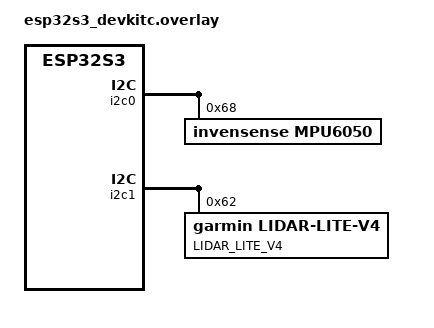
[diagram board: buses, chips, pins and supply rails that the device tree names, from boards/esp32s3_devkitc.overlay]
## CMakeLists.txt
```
cmake_minimum_required(VERSION 3.20.0)
find_package(Zephyr REQUIRED HINTS $ENV{ZEPHYR_BASE})
project(slam-module)

project(app LANGUAGES C)

file(GLOB SLAM_MODULE_SOURCES "src/*.c")

target_sources(app PRIVATE ${SLAM_MODULE_SOURCES})
target_include_directories(app PRIVATE ${CMAKE_CURRENT_SOURCE_DIR}/include)

# Link Fusion library (headers are automatically included)
target_link_libraries(app PRIVATE Fusion)

# Add Xtensa-specific compiler flags to Fusion library to handle call range issues
if(CMAKE_C_COMPILER_ID MATCHES "GNU" AND CMAKE_SYSTEM_PROCESSOR MATCHES "xtensa")
    target_compile_options(Fusion PRIVATE 
        -mtext-section-literals
        -mlongcalls
    )
endif()
```

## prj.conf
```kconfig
# Copyright (c) 2021 Nordic Semiconductor ASA
CONFIG_I2C=y
CONFIG_SENSOR=y
CONFIG_MPU6050_TRIGGER_NONE=y
CONFIG_CBPRINTF_FP_SUPPORT=y
```

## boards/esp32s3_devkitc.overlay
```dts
// SDA - GPIO8
// SCL - GPIO9

/ {
    aliases {
        lidar = &lidar;
        imu = &mpu6050;
    };
};

&pinctrl {
    i2c0_default: i2c0_default {
        group1 {
            pinmux = <I2C0_SDA_GPIO8>, <I2C0_SCL_GPIO9>;
            bias-pull-up;
            drive-open-drain;
            output-high;
        };
    };
    i2c1_default: i2c1_default {
        group1 {
            pinmux = <I2C1_SDA_GPIO6>, <I2C1_SCL_GPIO15>;
            bias-pull-up;
            drive-open-drain;
            output-high;
        };
    };
};

&i2c0 {
    status = "okay";
    mpu6050: mpu6050@68 {
        compatible = "invensense,mpu6050";
        reg = <0x68>;
        status = "okay";
    };
};

&i2c1 {
    status = "okay";
    lidar: lidar@62 {
        compatible = "garmin,lidar-lite-v4";
        reg = <0x62>;
        label = "LIDAR_LITE_V4";
        status = "okay";
    };
};
```

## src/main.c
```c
#include <zephyr/kernel.h>
#include <zephyr/device.h>
#include <stdlib.h>

#include "imu.h"
#include "lidar.h"
#include "slam.h"
#include "wifi_comm.h"
#include "hardware_intf.h"

#define STACK_SIZE      2048

#define IMU_PRIORITY     3
#define LIDAR_PRIORITY   3
#define SLAM_PRIORITY    2
#define WIFI_PRIORITY    1


K_THREAD_STACK_DEFINE(imu_stack, STACK_SIZE);
K_THREAD_STACK_DEFINE(lidar_stack, STACK_SIZE);
K_THREAD_STACK_DEFINE(slam_stack, STACK_SIZE);
K_THREAD_STACK_DEFINE(wifi_stack, STACK_SIZE);

static struct k_thread imu_thread_data;
static struct k_thread lidar_thread_data;
static struct k_thread slam_thread_data;
static struct k_thread wifi_thread_data;

typedef bool (*init_func_t)(void);

int main(void) {

    app_hardware_init();

    k_thread_create(&imu_thread_data, imu_stack, STACK_SIZE,
                    imu_thread, NULL, NULL, NULL,
                    IMU_PRIORITY, 0, K_NO_WAIT);

    k_thread_create(&lidar_thread_data, lidar_stack, STACK_SIZE,
                    lidar_thread, NULL, NULL, NULL,
                    LIDAR_PRIORITY, 0, K_NO_WAIT);

    k_thread_create(&slam_thread_data, slam_stack, STACK_SIZE,
                    slam_thread, NULL, NULL, NULL,
                    SLAM_PRIORITY, 0, K_NO_WAIT);

    k_thread_create(&wifi_thread_data, wifi_stack, STACK_SIZE,
                    wifi_thread, NULL, NULL, NULL,
                    WIFI_PRIORITY, 0, K_NO_WAIT);

    return EXIT_SUCCESS;
}
```

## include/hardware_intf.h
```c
#ifndef HARDWARE_INTF_H
#define HARDWARE_INTF_H

const struct device * const get_imu_device(void);
const struct device * const get_lidar_device(void);
void app_hardware_init(void);

#endif // HARDWARE_INTF_H
```

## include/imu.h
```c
#ifndef IMU_H
#define IMU_H

#include <zephyr/drivers/sensor.h>
#include <stdbool.h>

#define SAMPLE_PERIOD_MSEC (10)
#define SAMPLE_PERIOD_SEC (SAMPLE_PERIOD_MSEC / 1000.0f)
#define SAMPLE_RATE_HZ (1000.0f / SAMPLE_PERIOD_MSEC)

typedef struct {
    struct sensor_value accel[3];
    struct sensor_value gyro[3];
    struct sensor_value temperature;
    bool data_ready;
} imu_data_t;

// Function declarations
void imu_thread(void *, void *, void *);
bool get_latest_imu_data(imu_data_t *data);

#endif // IMU_H
```

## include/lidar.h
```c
#ifndef LIDAR_H
#define LIDAR_H

void lidar_thread(void *, void *, void *);
#endif // LIDAR_H
```

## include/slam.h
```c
#ifndef SLAM_H
#define SLAM_H

#include <stdint.h>

typedef struct __attribute__((packed)) {
    float roll, pitch, yaw;
    float earth_x, earth_y, earth_z;
    uint32_t timestamp;
} slam_output_t;

extern struct k_msgq positioning_data;

void slam_thread(void *, void *, void *);
#endif // SLAM_H
```

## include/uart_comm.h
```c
#ifndef UART_COMM_H
#define UART_COMM_H

void uart_thread(void *, void *, void *);
#endif // UART_COMM_H
```

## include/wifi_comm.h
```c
#ifndef WIFI_COMM_H
#define WIFI_COMM_H

#include "slam.h" // or wherever slam_output_t is defined

void wifi_thread(void *, void *, void *);
#endif // WIFI_COMM_H
```

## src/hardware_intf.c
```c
#include <zephyr/kernel.h>
#include <zephyr/device.h>
#include <stdlib.h>

#include "hardware_intf.h"

// local variables
static const struct device *devices[] = {
        DEVICE_DT_GET(DT_ALIAS(imu)),
        DEVICE_DT_GET(DT_ALIAS(lidar))
    };

static const enum {
    IMU,
    LIDAR
} devices_indices;

// Public functions
const struct device * const get_imu_device(void) {
    return devices[IMU];
}

const struct device * const get_lidar_device(void) {
    return devices[LIDAR];
}

void app_hardware_init(void) {

    for (size_t i = 0; i < ARRAY_SIZE(devices); i++) {
        if (!device_is_ready(devices[i])) {
            printk("Device %s is not ready\n", devices[i]->name);
            exit(EXIT_FAILURE);
        }
    }

    printk("All devices are ready\n");
    return;
}
```

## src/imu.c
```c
#include <zephyr/kernel.h>
#include <zephyr/device.h>
#include <zephyr/drivers/sensor.h>
#include <stdio.h>

#include "hardware_intf.h"
#include "imu.h"

// Shared IMU data structure
imu_data_t shared_imu_data = {0};
K_MUTEX_DEFINE(imu_data_mutex);

bool get_latest_imu_data(imu_data_t *data) {
    if (k_mutex_lock(&imu_data_mutex, K_MSEC(10)) == 0) {
        if (shared_imu_data.data_ready) {
            *data = shared_imu_data;
            k_mutex_unlock(&imu_data_mutex);
            return true;
        }
        k_mutex_unlock(&imu_data_mutex);
    }
    return false;
}

// #define DEBUG_IMU


void imu_thread(void *arg1, void *arg2, void *arg3) {

    const struct device *dev = get_imu_device();
    struct sensor_value temperature;
	struct sensor_value accel[3];
	struct sensor_value gyro[3];

    int rc;

    while (1) {
        rc = sensor_sample_fetch(dev);
        if (rc == 0) {
            rc = sensor_channel_get(dev, SENSOR_CHAN_ACCEL_XYZ,
                        accel);
        }
        if (rc == 0) {
            rc = sensor_channel_get(dev, SENSOR_CHAN_GYRO_XYZ,
                        gyro);
        }
        if (rc == 0) {
            rc = sensor_channel_get(dev, SENSOR_CHAN_DIE_TEMP,
                        &temperature);
        }
        if (rc == 0) {
            // Update shared data structure
            if (k_mutex_lock(&imu_data_mutex, K_MSEC(1)) == 0) {
                // Copy new data to shared structure
                for (int i = 0; i < 3; i++) {
                    shared_imu_data.accel[i] = accel[i];
                    shared_imu_data.gyro[i] = gyro[i];
                }
                shared_imu_data.temperature = temperature;
                shared_imu_data.data_ready = true;
                k_mutex_unlock(&imu_data_mutex);
            }
            

            #ifdef DEBUG_IMU
            printk("%g Cel\n"
                "  accel %f %f %f m/s/s\n"
                "  gyro  %f %f %f rad/s\n",
                sensor_value_to_double(&temperature),
                sensor_value_to_double(&accel[0]),
                sensor_value_to_double(&accel[1]),
                sensor_value_to_double(&accel[2]),
                sensor_value_to_double(&gyro[0]),
                sensor_value_to_double(&gyro[1]),
                sensor_value_to_double(&gyro[2]));
            #endif
        }
        #ifdef DEBUG_IMU
        else {
            printk("sample fetch/get failed: %d\n", rc);
        }
        #endif

        k_sleep(K_MSEC(SAMPLE_PERIOD_MSEC)); // Sleep for 10 milliseconds

    }

    return;
}
```

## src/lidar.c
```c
#include <zephyr/kernel.h>
#include <zephyr/device.h>
#include <zephyr/drivers/sensor.h>
#include <stdio.h>

#include "hardware_intf.h"
#include "lidar.h"

// #define DEBUG_LIDAR

void lidar_thread(void *arg1, void *arg2, void *arg3) {

    const struct device *dev = get_lidar_device();
    struct sensor_value distance;

    int rc;

    while (1) {
        rc = sensor_sample_fetch(dev);

        if (rc == 0) {
            rc = sensor_channel_get(dev, SENSOR_CHAN_DISTANCE,
                        &distance);
        }
        if (rc == 0) {
            #ifdef DEBUG_LIDAR
            printk("Distance: %g m\n", sensor_value_to_double(&distance));
            #endif
        } else {
            #ifdef DEBUG_LIDAR
            printk("sample fetch/get failed: %d\n", rc);
            #endif
        }

        k_sleep(K_MSEC(100)); // Sleep for 100 milliseconds

    }

    return;
}
```

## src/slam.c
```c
#include <stdbool.h>
#include <stdio.h>
#include <zephyr/kernel.h>

#include "imu.h"
#include "slam.h"
#include "Fusion.h"

// #define DEBUG_SLAM

slam_output_t slam_output;
K_MSGQ_DEFINE(positioning_data, sizeof(slam_output_t), 10, 4);

void slam_thread(void *arg1, void *arg2, void *arg3) {

    FusionAhrs ahrs;
    FusionAhrsInitialise(&ahrs);

    #ifdef DEBUG_SLAM
    printk("SLAM thread started\n");
    static int counter = 0;
    #endif
    
    imu_data_t current_imu_data;

    while (true) { 

        // Get the latest IMU data
        if (get_latest_imu_data(&current_imu_data)) {
            // Convert sensor_value to float for Fusion library
            const FusionVector gyroscope = {{
                sensor_value_to_double(&current_imu_data.gyro[0]),
                sensor_value_to_double(&current_imu_data.gyro[1]),
                sensor_value_to_double(&current_imu_data.gyro[2])
            }};
            
            const FusionVector accelerometer = {{
                sensor_value_to_double(&current_imu_data.accel[0]),
                sensor_value_to_double(&current_imu_data.accel[1]),
                sensor_value_to_double(&current_imu_data.accel[2])
            }};

            FusionAhrsUpdateNoMagnetometer(&ahrs, gyroscope, accelerometer, SAMPLE_PERIOD_SEC);
            const FusionVector earth = FusionAhrsGetEarthAcceleration(&ahrs);
            const FusionEuler euler = FusionQuaternionToEuler(FusionAhrsGetQuaternion(&ahrs));
            
            #ifdef DEBUG_SLAM
            if ((counter %= 40) == 0) { // Print every 40 iterations
                // printk("Roll %0.1f, Pitch %0.1f, Yaw %0.1f\n", euler.angle.roll, euler.angle.pitch, euler.angle.yaw);
                printk("X %0.1f, Y %0.1f, Z %0.1f\n", earth.axis.x, earth.axis.y, earth.axis.z);
            }
            counter++;
            #endif
        
        // Set the output data
        slam_output.roll = euler.angle.roll;
        slam_output.pitch = euler.angle.pitch;
        slam_output.yaw = euler.angle.yaw;
        slam_output.earth_x = earth.axis.x;
        slam_output.earth_y = earth.axis.y;
        slam_output.earth_z = earth.axis.z;
        slam_output.timestamp = k_uptime_get();
        
        k_msgq_put(&positioning_data, &slam_output, K_NO_WAIT);
        }

        k_sleep(K_MSEC(SAMPLE_PERIOD_MSEC)); // Check for new data every 10ms
    }
    return;
}
```

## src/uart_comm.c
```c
void uart_thread(void *arg1, void *arg2, void *arg3) {

    return;
}
```

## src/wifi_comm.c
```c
#include <stdint.h>

#include <zephyr/kernel.h>
#include <zephyr/device.h>
#include <zephyr/net/socket.h>

#include "wifi_comm.h"
#include "slam.h"

#define MAX_BATCH 16

static slam_output_t slam_output[MAX_BATCH];
static int message_count;

void wifi_thread(void *arg1, void *arg2, void *arg3) {

    while (1) {
        // Drain the message queue
        message_count = 0;
        while (message_count < MAX_BATCH && k_msgq_get(&positioning_data, &slam_output[message_count], K_NO_WAIT) == 0) {
            message_count++;
        }

        // Send the packets over Wi-Fi
        if (message_count > 0) {
            continue;
        }
    }

    return;
}
```
